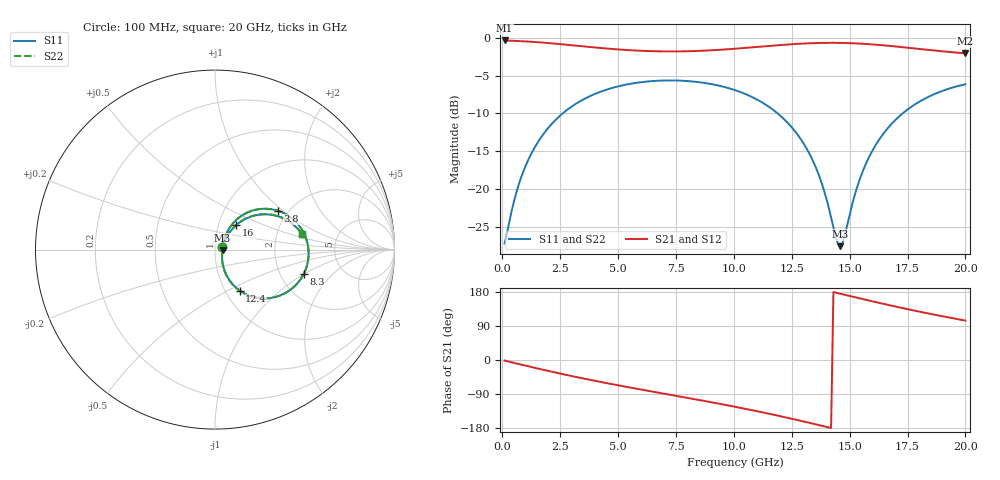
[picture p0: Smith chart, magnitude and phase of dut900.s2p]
! Touchstone file exported from HFSS 2026.1.0
!  File:  C:/ffzhzh/LocalFiles/Ansys_Project_Files/temp_train_TSV_RDL_900_1783276493_5512.aedt
!  Generated:  02:44:59 AM Jul  6, 2026
!  Design:  TSV_RDL
!  Project:  temp_train_TSV_RDL_900_1783276493_5512
! Variables:
!  h_bsmrdl = 3.16um
!  h_ox = 20um
!  h_rdl = 5um
!  h_sub = 66.53um
!  h_tmrdl = 4.23um
!  h_tsv = 66.53um
!  h_via = 3um
!  l_bsmrdl = 957.85um
!  l_sub = 4337.6um
!  l_tmrdl = 244.18um
!  m_sub = 200um
!  pitch = 27.31um
!  r_tsv = 2.6um
!  s_tmrdl = 10um
!  w_bsmrdl = 10.45um
!  w_sub = 500um
!  w_tmrdl = 18.66um
!  x_tsv_center1 = 253.51um
!  x_tsv_center2 = 1221.81um
!  x_tsv_center3 = 1484.65um
!  x_tsv_center4 = 2452.95um
!  x_tsv_center5 = 2715.79um
!  x_tsv_center6 = 3684.09um
# GHz S MA R 50.000000
! Terminal data exported
! Port[1] = TM_RDL1_1_T1
! Port[2] = TM_RDL5_1_T1
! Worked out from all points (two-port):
!   200 points, 100 MHz to 20 GHz, reference 50 ohm
!   highest |S21| = -0.37 dB at 100 MHz (marker M1); lowest = -2.1 dB at 20 GHz (marker M2)
!   |S21| within 3 dB of the highest: start of sweep to end of sweep
!   lowest |S11| = -27.5 dB at 14.6 GHz (marker M3), VSWR 1.09, Z = 54.4 - j0.47 ohm
!   |S11| at or under -10 dB: start of sweep to 2.605 GHz; 11.89 GHz to 17.29 GHz (5.392 GHz wide, 37 % of centre)
!   |S22| runs from -27.7 to -5.6 dB; largest |S21 - S12| = 2e-14
!   S11 on the Smith chart (normalised r, x): 100 MHz: 1.09, +0.03; 3.8 GHz: 1.78, +0.92; 8.3 GHz: 2.69, -0.99; 12.4 GHz: 1.17, -0.57; 16 GHz: 1.22, +0.35; 20 GHz: 2.79, +0.62
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0.1  0.04382 18.0  0.9586 -1.6  0.9586 -1.6  0.04382 18.0
! Gamma 0 0 0 0
! Port Impedance 50 0 50 0
0.7  0.1063 54.3  0.9502 -10.5  0.9502 -10.5  0.1063 54.3
1.3  0.1772 55.7  0.9387 -19.2  0.9387 -19.2  0.1772 55.7
2.3  0.2866 47.7  0.9128 -33.1  0.9128 -33.1  0.2866 47.7
3.5  0.3913 34.9  0.8761 -48.8  0.8761 -48.8  0.3914 34.9
3.8  0.4124 31.6  0.8672 -52.5  0.8672 -52.5  0.4125 31.6
5.3  0.4886 15.5  0.8304 -70.2  0.8304 -70.2  0.4886 15.5
6.8  0.5206 0.0  0.8125 -86.8  0.8125 -86.8  0.5206 -0.0
8.3  0.5125 -15.3  0.8162 -103.3  0.8162 -103.3  0.5126 -15.4
10.1  0.448 -34.3  0.8464 -124.0  0.8464 -124.0  0.448 -34.3
11.4  0.3596 -48.4  0.8788 -140.2  0.8788 -140.2  0.3596 -48.5
12.4  0.2667 -58.9  0.903 -153.6  0.903 -153.6  0.2666 -59.1
13.4  0.1558 -65.8  0.9202 -167.7  0.9202 -167.7  0.1556 -66.2
13.8  0.109 -64.3  0.9238 -173.5  0.9238 -173.5  0.1087 -64.8
14.4  0.04848 -35.2  0.9249 177.7  0.9249 177.7  0.04763 -35.9
14.6  0.04213 -5.9  0.9241 174.8  0.9241 174.8  0.04106 -6.0
14.8  0.05027 22.1  0.9226 171.8  0.9226 171.8  0.04932 22.7
15.4  0.112 48.6  0.9149 163.1  0.9149 163.1  0.1115 49.1
16  0.1816 49.0  0.9025 154.5  0.9025 154.5  0.1813 49.4
16.7  0.2584 43.8  0.8836 144.8  0.8836 144.8  0.2581 44.0
18.2  0.3926 28.5  0.8366 125.3  0.8366 125.3  0.3924 28.7
20  0.4931 9.9  0.7885 104.0  0.7885 104.0  0.4929 10.0
